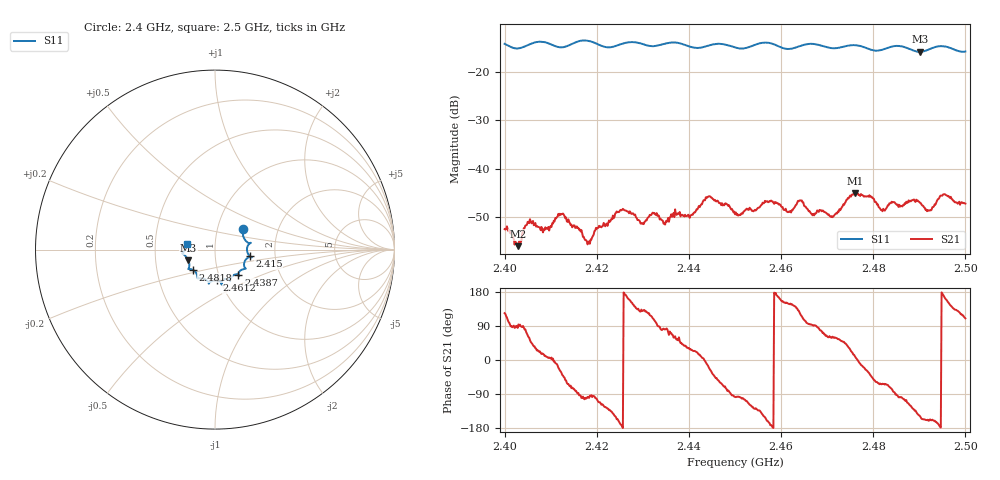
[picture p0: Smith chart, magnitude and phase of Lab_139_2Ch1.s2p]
# Hz S RI R 50
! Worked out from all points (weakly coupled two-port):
!   601 points, 2.4 GHz to 2.5 GHz, reference 50 ohm
!   highest |S21| = -44.94 dB at 2.476 GHz (marker M1); lowest = -55.9 dB at 2.4028 GHz (marker M2)
!   lowest |S11| = -15.9 dB at 2.4902 GHz (marker M3), VSWR 1.38, Z = 36.9 - j4.59 ohm
!   |S11| at or under -10 dB: start of sweep to end of sweep
!   S12 and S22 are empty: the file has one direction only
!   S11 on the Smith chart (normalised r, x): 2.4 GHz: 1.33, +0.31; 2.415 GHz: 1.47, -0.11; 2.4387 GHz: 1.24, -0.36; 2.4612 GHz: 0.96, -0.34; 2.4818 GHz: 0.76, -0.18; 2.5 GHz: 0.73, +0.05
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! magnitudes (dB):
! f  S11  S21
! 2.4 GHz  -14.3  -52.4
! 2.4028 GHz  -15.2  -55.9
! 2.4055 GHz  -14.3  -50.4
! 2.4088 GHz  -14.0  -52.0
! 2.4122 GHz  -15.0  -49.5
! 2.415 GHz  -14.1  -51.6
! 2.4167 GHz  -13.6  -52.6
! 2.4183 GHz  -13.7  -54.9
! 2.4255 GHz  -14.3  -48.4
! 2.4333 GHz  -14.6  -49.6
! 2.4387 GHz  -14.3  -49.6
! 2.4442 GHz  -14.6  -45.8
! 2.45 GHz  -15.0  -49.3
! 2.4612 GHz  -15.3  -48.7
! 2.4642 GHz  -14.7  -46.5
! 2.4667 GHz  -14.3  -49.3
! 2.4712 GHz  -15.2  -49.9
! 2.476 GHz  -14.5  -44.9
! 2.4818 GHz  -15.5  -48.5
! 2.4833 GHz  -15.0  -47.5
! 2.4902 GHz  -15.9  -47.0
! 2.5 GHz  -15.8  -47.1
